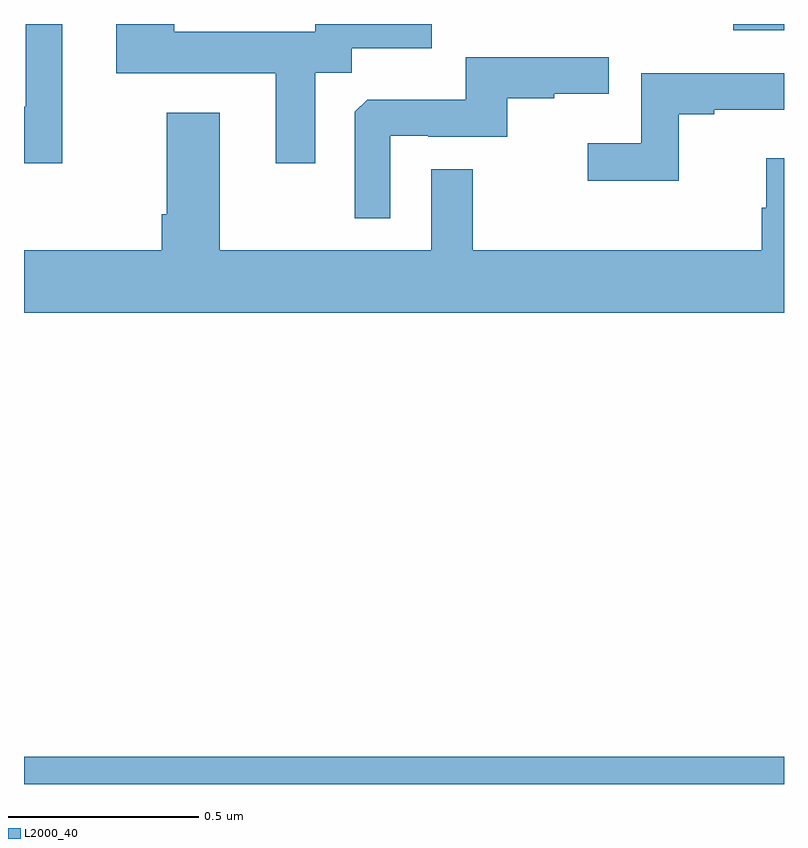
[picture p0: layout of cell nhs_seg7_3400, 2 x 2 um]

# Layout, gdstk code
import gdstk
lib = gdstk.Library(unit=1e-6, precision=1e-09)
def R(c, l, rs):  # rectangles x0, y0, x1, y1
    for r in rs: c.add(gdstk.rectangle(r[:2], r[2:], *l))
def P(c, l, *ps):  # polygons
    for p in ps: c.add(gdstk.Polygon(p, *l))
L2000_40 = (2000, 40)

nhs_seg7_3400 = lib.new_cell('nhs_seg7_3400')
R(nhs_seg7_3400, L2000_40, [(158,1042,160,1042.072), (159.867,1043.984,160,1044)])
P(nhs_seg7_3400, L2000_40, [(158.767,1043.872),(158.862,1043.872),(158.862,1043.936),(159.073,1043.936),(159.073,1044),(158.766,1044),(158.766,1043.98),(158.395,1043.98),(158.395,1044),(158.243,1044),(158.243,1043.87),(158.663,1043.87),(158.663,1043.634),(158.767,1043.634)],
  [(158.101,1044),(158.004,1044),(158.004,1043.782),(158,1043.782),(158,1043.634),(158.101,1043.634)],
  [(158.964,1043.706),(159.064,1043.706),(159.064,1043.703),(159.272,1043.703),(159.272,1043.805),(159.395,1043.805),(159.395,1043.816),(159.539,1043.816),(159.539,1043.913),(159.162,1043.913),(159.162,1043.801),(158.903,1043.801),(158.871,1043.769),(158.871,1043.489),(158.964,1043.489)],
  [(159.723,1043.763),(159.817,1043.763),(159.817,1043.775),(160,1043.775),(160,1043.871),(159.624,1043.871),(159.624,1043.686),(159.483,1043.686),(159.483,1043.588),(159.723,1043.588)],
  [(160,1043.647),(159.953,1043.647),(159.953,1043.517),(159.941,1043.517),(159.941,1043.404),(159.181,1043.404),(159.181,1043.618),(159.072,1043.618),(159.072,1043.404),(158.515,1043.404),(158.515,1043.767),(158.375,1043.767),(158.375,1043.5),(158.363,1043.5),(158.363,1043.404),(158,1043.404),(158,1043.24),(160,1043.24)])

lib.write_gds('nhs_seg7_3400.gds')
